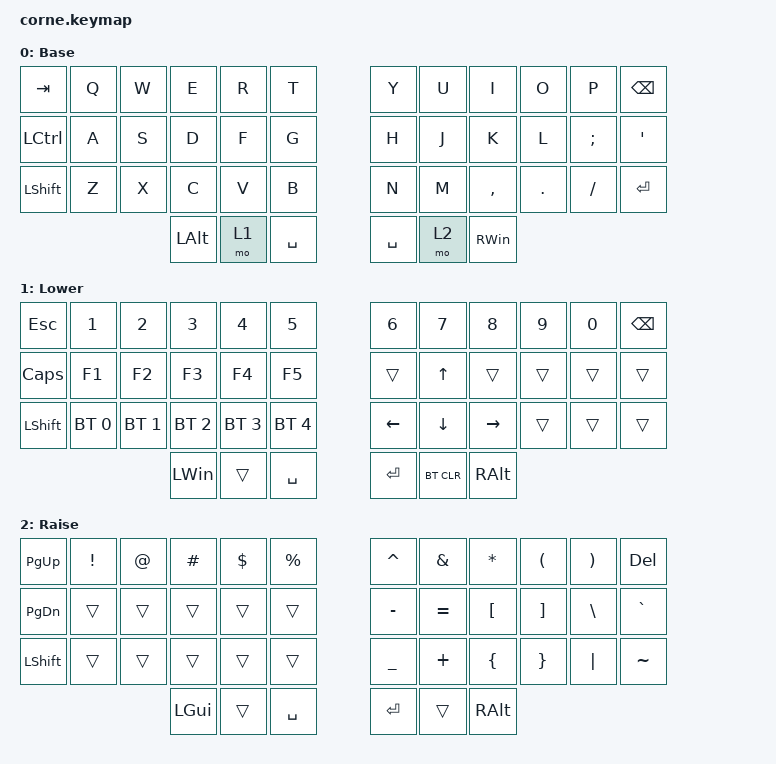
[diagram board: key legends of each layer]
/*
 * Copyright (c) 2020 The ZMK Contributors
 *
 * SPDX-License-Identifier: MIT
 */

#include <behaviors.dtsi>
#include <dt-bindings/zmk/keys.h>
#include <dt-bindings/zmk/bt.h>

/ {
        keymap {
                compatible = "zmk,keymap";

                default_layer {
// -----------------------------------------------------------------------------------------
// |  TAB |  Q  |  W  |  E  |  R  |  T  |   |  Y  |  U   |  I  |  O  |  P  | backspace |
// | CTRL |  A  |  S  |  D  |  F  |  G  |   |  H  |  J   |  K  |  L  |  ;  |  '   |
// | SHFT |  Z  |  X  |  C  |  V  |  B  |   |  N  |  M   |  ,  |  .  |  /  | enter  |
//                    | alt | LWR | SPC |   | SPC | RSE  | win |
label = "Base";                     
bindings = <
   &kp TAB   &kp Q &kp W &kp E &kp R &kp T   &kp Y &kp U  &kp I     &kp O   &kp P    &kp BSPC
   &kp LCTRL &kp A &kp S &kp D &kp F &kp G   &kp H &kp J  &kp K     &kp L   &kp SEMI &kp SQT
   &kp LSHFT &kp Z &kp X &kp C &kp V &kp B   &kp N &kp M  &kp COMMA &kp DOT &kp FSLH &kp RET
                  &kp LALT &mo 1 &kp SPACE   &kp SPACE &mo 2 &kp RIGHT_WIN
                        >;
                };
                lower_layer {
// -----------------------------------------------------------------------------------------
// | ESC |  1  |  2  |  3  |  4  |  5  |   |  6  |  7  |  8  |  9  |  0  | BKSP |
// | Caps Lock| F1  | F2 | F3 |F4| F5  |   |     |  UP |     |     |     |      |
// | SHFT | BT1|  BT2 |  BT3| BT4  | BT5|  | LFT | DWN | RGT |     |    |     |
//                    | GUI |  | SPC| | ENT |  BTreset   | ALT |
label = "Lower";                      
bindings = <
   &kp ESC    &kp N1       &kp N2       &kp N3       &kp N4       &kp N5         &kp N6   &kp N7   &kp N8 &kp N9    &kp N0 &kp BSPC
   &kp CAPS &kp F1 &kp F2 &kp F3 &kp F4 &kp F5   &trans   &kp UP   &trans &trans &trans &trans
   &kp LSHFT  &bt BT_SEL 0  &bt BT_SEL 1  &bt BT_SEL 2   &bt BT_SEL 3      &bt BT_SEL 4      &kp LEFT   &kp DOWN   &kp RIGHT &trans   &trans  &trans
                                     &kp LWIN     &trans      &kp SPACE      &kp RET  &bt BT_CLR   &kp RALT
                        >;
                };

                raise_layer {
// -----------------------------------------------------------------------------------------
// |  PAGEUP |  !  |  @  |  #  |  $  |  %  |   |  ^  |  &  |  *  |  (  |  )  | del|
// | PAGEDOWN |     |     |     |     |     |   |  -  |  =  |  [  |  ]  |  \  |  `   |
// | SHFT |     |     |     |     |     |   |  _  |  +  |  {  |  }  | "|" |  ~   |
//                    | GUI |     | SPC |   | ENT |     | ALT |
label = "Raise";                       
bindings = <
   &kp  PAGE_UP  &kp EXCL &kp AT &kp HASH &kp DLLR &kp PRCNT   &kp CARET &kp AMPS  &kp STAR &kp LPAR &kp RPAR &kp DEL
   &kp PAGE_DOWN &trans   &trans &trans   &trans   &trans      &kp MINUS &kp EQUAL &kp LBKT        &kp RBKT &kp BSLH &kp GRAVE
   &kp LSHFT &trans   &trans &trans   &trans   &trans      &kp UNDER &kp PLUS  &kp LBRC        &kp RBRC &kp PIPE &kp TILDE
                             &kp LGUI &trans   &kp SPACE   &kp RET   &trans    &kp RALT
                        >;
                };
        };
};
